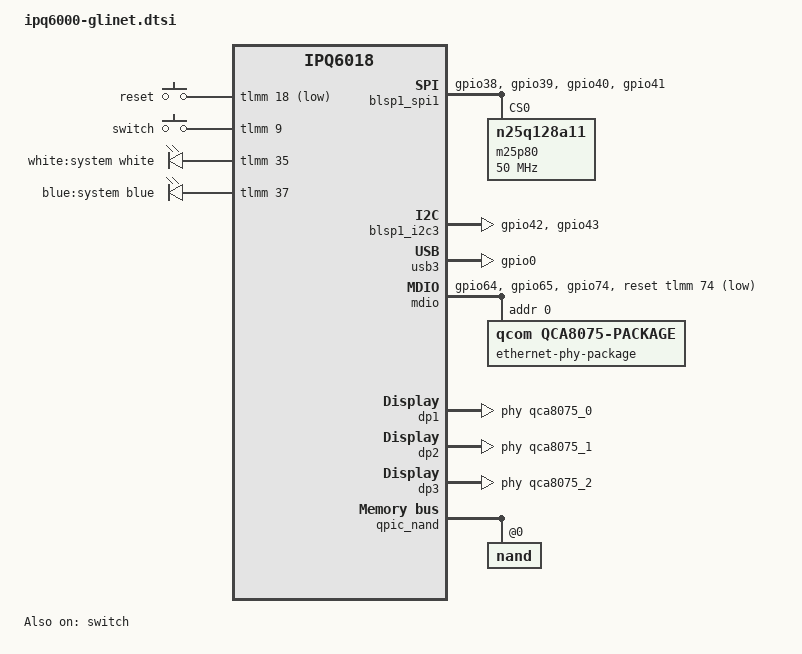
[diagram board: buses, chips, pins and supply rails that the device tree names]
// SPDX-License-Identifier: GPL-2.0-or-later OR MIT

#include "ipq6018-512m.dtsi"
#include "ipq6018-common.dtsi"
#include "ipq6018-ess.dtsi"
#include "ipq6018-nss.dtsi"
#include "ipq6000-fixed-smps.dtsi"

#include <dt-bindings/gpio/gpio.h>
#include <dt-bindings/input/input.h>
#include <dt-bindings/leds/common.h>

/ {
	aliases {
		serial0 = &blsp1_uart3;

		led-boot = &led_system_white;
		led-failsafe = &led_system_white;
		led-running = &led_system_white;
		led-upgrade = &led_system_white;

		ethernet0 = &dp1;
		ethernet1 = &dp2;
		ethernet2 = &dp3;
	};

	chosen {
		stdout-path = "serial0:115200n8";
		bootargs-append = " root=/dev/ubiblock0_1";
	};

	keys {
		compatible = "gpio-keys";

		reset {
			label = "reset";
			gpios = <&tlmm 18 GPIO_ACTIVE_LOW>;
			linux,code = <KEY_RESTART>;
		};

		switch {
			label = "switch";
			gpios = <&tlmm 9 GPIO_ACTIVE_HIGH>;
			linux,code = <KEY_WPS_BUTTON>;
		};
	};

	leds {
		compatible = "gpio-leds";

		led_system_white: system-white {
			label = "white:system";
			gpios = <&tlmm 35 GPIO_ACTIVE_HIGH>;
			color = <LED_COLOR_ID_WHITE>;
		};

		led_system_blue: system-blue {
			label = "blue:system";
			gpios = <&tlmm 37 GPIO_ACTIVE_HIGH>;
			color = <LED_COLOR_ID_BLUE>;
		};
	};
};

&tlmm {
	gpio-reserved-ranges = <20 1>;

	mdio_pins: mdio-pins {
		mdc {
			pins = "gpio64";
			function = "mdc";
			drive-strength = <8>;
			bias-pull-up;
		};

		mdio {
			pins = "gpio65";
			function = "mdio";
			drive-strength = <8>;
			bias-pull-up;
		};

		mux_2 {
			pins = "gpio74";
			function = "gpio";
			bias-pull-up;
		};
	};

	usb_power_pins: usb-power-pins {
		mux {
			pins = "gpio0";
			function = "gpio";
			bias-pull-up;
			output-high;
		};
	};

	spi_1_pins: spi-1-pins {
		mux {
			pins = "gpio38", "gpio39", "gpio40", "gpio41";
			function = "blsp0_spi";
			drive-strength = <8>;
			bias-pull-down;
		};
	};

	i2c_1_pins: i2c-1-pins {
		mux {
			pins = "gpio42", "gpio43";
			function = "blsp2_i2c";
			drive-strength = <8>;
			bias-pull-down;
		};
	};
};

&blsp1_spi1 {
	status = "okay";

	pinctrl-0 = <&spi_1_pins>;
	pinctrl-names = "default";
	cs-select = <0>;

	m25p80@0 {
		#address-cells = <1>;
		#size-cells = <1>;
		reg = <0>;
		compatible = "n25q128a11";
		linux,modalias = "m25p80", "n25q128a11";
		spi-max-frequency = <50000000>;
		use-default-sizes;
	};
};

&blsp1_i2c3 {
	pinctrl-0 = <&i2c_1_pins>;
	pinctrl-names = "default";
	status = "okay";
};

&usb3 {
	pinctrl-0 = <&usb_power_pins>;
	pinctrl-names = "default";
	status = "okay";
};

&mdio {
	status = "okay";

	pinctrl-0 = <&mdio_pins>;
	pinctrl-names = "default";
	reset-gpios = <&tlmm 74 GPIO_ACTIVE_LOW>;

	ethernet-phy-package@0 {
		compatible = "qcom,qca8075-package";
		#address-cells = <1>;
		#size-cells = <0>;
		reg = <0>;

		qca8075_0: ethernet-phy@0 {
			compatible = "ethernet-phy-ieee802.3-c22";
			reg = <0>;
		};

		qca8075_1: ethernet-phy@1 {
			compatible = "ethernet-phy-ieee802.3-c22";
			reg = <1>;
		};

		qca8075_2: ethernet-phy@2 {
			compatible = "ethernet-phy-ieee802.3-c22";
			reg = <2>;
		};
	};
};

&switch {
	status = "okay";

	switch_lan_bmp = <(ESS_PORT2 | ESS_PORT3)>;
	switch_wan_bmp = <ESS_PORT1>;
	switch_mac_mode = <MAC_MODE_PSGMII>;

	qcom,port_phyinfo {
		port@1 {
			port_id = <1>;
			phy_address = <0>;
		};

		port@2 {
			port_id = <2>;
			phy_address = <1>;
		};

		port@3 {
			port_id = <3>;
			phy_address = <2>;
		};
	};
};

&dp1{
	status = "okay";
	phy-handle = <&qca8075_0>;
	label = "wan";
};

&dp2{
	status = "okay";
	phy-handle = <&qca8075_1>;
	label = "lan1";
};

&dp3{
	status = "okay";
	phy-handle = <&qca8075_2>;
	label = "lan2";
};

&qpic_nand {
	status = "okay";

	nand@0 {
		reg = <0>;
		nand-ecc-strength = <4>;
		nand-ecc-step-size = <512>;
		nand-bus-width = <8>;

		partitions {
			compatible = "qcom,smem-part";
		};
	};
};

&edma {
	status = "okay";
};
